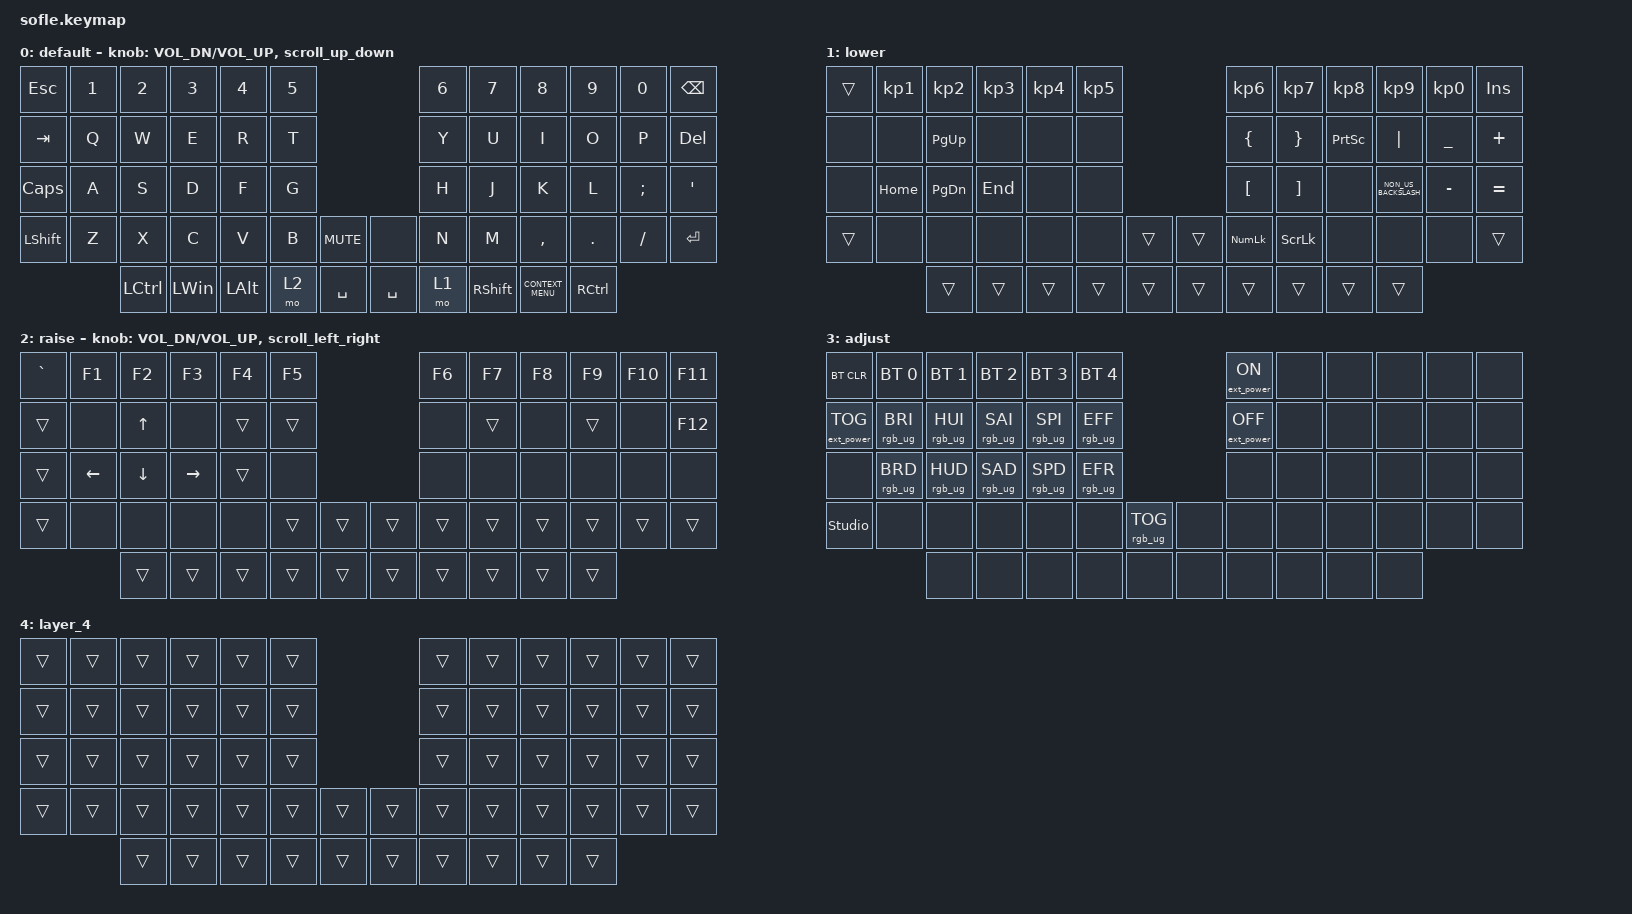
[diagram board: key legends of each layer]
/*
 * Copyright (c) 2020 The ZMK Contributors
 *
 * SPDX-License-Identifier: MIT
 */

#include <behaviors.dtsi>
#include <dt-bindings/zmk/bt.h>
#include <dt-bindings/zmk/ext_power.h>
#include <dt-bindings/zmk/keys.h>
#include <dt-bindings/zmk/rgb.h>

#define ZMK_POINTING_DEFAULT_SCRL_VAL 50    // default: 10
#include <dt-bindings/zmk/pointing.h>

#define BASE 0
#define LOWER 1
#define RAISE 2
#define ADJUST 3

/ {
    // Activate ADJUST layer by pressing raise and lower

    conditional_layers {
        compatible = "zmk,conditional-layers";

        adjust_layer {
            if-layers = <1 2>;
            then-layer = <3>;
        };
    };

    behaviors {
        scroll_up_down: behavior_sensor_rotate_mouse_wheel_up_down {
            compatible = "zmk,behavior-sensor-rotate";
            #sensor-binding-cells = <0>;
            bindings = <&msc SCRL_UP>, <&msc SCRL_DOWN>;
            tap-ms = <64>;
        };

        scroll_left_right: behavior_sensor_rotate_mouse_wheel_left_right {
            compatible = "zmk,behavior-sensor-rotate";
            #sensor-binding-cells = <0>;
            bindings = <&msc SCRL_LEFT>, <&msc SCRL_RIGHT>;
            tap-ms = <64>;
        };
    };
    
    keymap {
        compatible = "zmk,keymap";

        default_layer {
            label = "default";

            // ------------------------------------------------------------------------------------------------------------
            // |   `   |  1  |  2  |  3   |  4   |  5   |                   |  6   |  7    |  8    |  9   |   0   |       |
            // |  ESC  |  Q  |  W  |  E   |  R   |  T   |                   |  Y   |  U    |  I    |  O   |   P   | BKSPC |
            // |  TAB  |  A  |  S  |  D   |  F   |  G   |                   |  H   |  J    |  K    |  L   |   ;   |   '   |
            // | SHIFT |  Z  |  X  |  C   |  V   |  B   |  MUTE  |  |       |  N   |  M    |  ,    |  .   |   /   | SHIFT |
            //               | GUI | ALT  | CTRL | LOWER|  ENTER |  | SPACE | RAISE| CTRL  | ALT   | GUI  |

            bindings = <
&kp ESC         &kp N1  &kp N2            &kp N3        &kp N4        &kp N5                           &kp N6  &kp N7           &kp N8              &kp N9             &kp N0    &kp BACKSPACE
&kp TAB         &kp Q   &kp W             &kp E         &kp R         &kp T                            &kp Y   &kp U            &kp I               &kp O              &kp P     &kp DEL
&kp CAPS        &kp A   &kp S             &kp D         &kp F         &kp G                            &kp H   &kp J            &kp K               &kp L              &kp SEMI  &kp SQT
&kp LEFT_SHIFT  &kp Z   &kp X             &kp C         &kp V         &kp B   &kp C_MUTE    &none      &kp N   &kp M            &kp COMMA           &kp DOT            &kp FSLH  &kp ENTER
                        &kp LEFT_CONTROL  &kp LEFT_WIN  &kp LEFT_ALT  &mo 2   &kp SPACE     &kp SPACE  &mo 1   &kp RIGHT_SHIFT  &kp K_CONTEXT_MENU  &kp RIGHT_CONTROL
            >;

            sensor-bindings =
                <&inc_dec_kp C_VOL_DN C_VOL_UP>,
                <&scroll_up_down>;
        };

        lower_layer {
            label = "lower";

            // TODO: Some binds are waiting for shifted keycode support.
            // ------------------------------------------------------------------------------------------------------------
            // |       |  F1 |  F2 |  F3  |  F4  |  F5  |                   |  F6  |  F7   |  F8   |  F9  |  F10  |  F11  |
            // |   `   |  1  |  2  |  3   |  4   |  5   |                   |  6   |  7    |  8    |  9   |   0   |  F12  |
            // |       |  !  |  @  |  #   |  $   |  %   |                   |  ^   |  &    |  *    |  (   |   )   |   |   |
            // |       |  =  |  -  |  +   |  {   |  }   |        |  |       |  [   |  ]    |  ;    |  :   |   \   |       |
            //               |     |      |      |      |        |  |       |      |       |       |      |

            bindings = <
&trans  &kp KP_NUMBER_1  &kp KP_NUMBER_2  &kp KP_NUMBER_3  &kp KP_NUMBER_4  &kp KP_NUMBER_5                    &kp KP_NUMBER_6   &kp KP_NUMBER_7    &kp KP_NUMBER_8  &kp KP_NUMBER_9       &kp KP_NUMBER_0  &kp INS
&none   &none            &kp PAGE_UP      &none            &none            &none                              &kp LEFT_BRACE    &kp RIGHT_BRACE    &kp PRINTSCREEN  &kp PIPE              &kp UNDERSCORE   &kp PLUS
&none   &kp HOME         &kp PAGE_DOWN    &kp END          &none            &none                              &kp LEFT_BRACKET  &kp RIGHT_BRACKET  &none            &kp NON_US_BACKSLASH  &kp MINUS        &kp EQUAL
&trans  &none            &none            &none            &none            &none            &trans    &trans  &kp KP_NUMLOCK    &kp SCROLLLOCK     &none            &none                 &none            &trans
                         &trans           &trans           &trans           &trans           &trans    &trans  &trans            &trans             &trans           &trans
            >;
        };

        raise_layer {
            label = "raise";

            // ------------------------------------------------------------------------------------------------------------
            // | BTCLR | BT1  | BT2  |  BT3  |  BT4  |  BT5 |                |      |      |       |      |       |       |
            // |       | INS  | PSCR | GUI   |       |      |                | PGUP |      |   ^   |      |       |       |
            // |       | ALT  | CTRL | SHIFT |       | CAPS |                | PGDN |   <- |   v   |  ->  |  DEL  | BKSPC |
            // |       | UNDO | CUT  | COPY  | PASTE |      |      |  |      |      |      |       |      |       |       |
            //                |      |       |       |      |      |  |      |      |      |       |      |

            bindings = <
&kp GRAVE  &kp F1          &kp F2          &kp F3           &kp F4  &kp F5                    &kp F6  &kp F7  &kp F8  &kp F9  &kp F10  &kp F11
&trans     &none           &kp UP_ARROW    &none            &trans  &trans                    &none   &trans  &none   &trans  &none    &kp F12
&trans     &kp LEFT_ARROW  &kp DOWN_ARROW  &kp RIGHT_ARROW  &trans  &none                     &none   &none   &none   &none   &none    &none
&trans     &none           &none           &none            &none   &trans  &trans    &trans  &trans  &trans  &trans  &trans  &trans   &trans
                           &trans          &trans           &trans  &trans  &trans    &trans  &trans  &trans  &trans  &trans
            >;

            sensor-bindings =
                <&inc_dec_kp C_VOL_DN C_VOL_UP>,
                <&scroll_left_right>;
        };

        adjust_layer {
            // ----------------------------------------------------------------------------------------------------------------------------
            // | BTCLR  |  BT1    |  BT2    |   BT3   |   BT4   |   BT5   |                  |      |      |       |      |       |       |
            // | EXTPWR | RGB_HUD | RGB_HUI | RGB_SAD | RGB_SAI | RGB_EFF |                  |      |      |       |      |       |       |
            // |        | RGB_BRD | RGB_BRI |         |         |         |                  |      |      |       |      |       |       |
            // |        |         |         |         |         |         | RGB_TOG | |      |      |      |       |      |       |       |
            //                    |         |         |         |         |         | |      |      |      |       |      |

            label = "adjust";
            bindings = <
&bt BT_CLR         &bt BT_SEL 0     &bt BT_SEL 1     &bt BT_SEL 2     &bt BT_SEL 3     &bt BT_SEL 4                               &ext_power EP_ON   &none  &none  &none  &none  &none
&ext_power EP_TOG  &rgb_ug RGB_BRI  &rgb_ug RGB_HUI  &rgb_ug RGB_SAI  &rgb_ug RGB_SPI  &rgb_ug RGB_EFF                            &ext_power EP_OFF  &none  &none  &none  &none  &none
&none              &rgb_ug RGB_BRD  &rgb_ug RGB_HUD  &rgb_ug RGB_SAD  &rgb_ug RGB_SPD  &rgb_ug RGB_EFR                            &none              &none  &none  &none  &none  &none
&studio_unlock     &none            &none            &none            &none            &none            &rgb_ug RGB_TOG    &none  &none              &none  &none  &none  &none  &none
                                    &none            &none            &none            &none            &none              &none  &none              &none  &none  &none
            >;
        };

        layer_4 {
            bindings = <
&trans  &trans  &trans  &trans  &trans  &trans                    &trans  &trans  &trans  &trans  &trans  &trans
&trans  &trans  &trans  &trans  &trans  &trans                    &trans  &trans  &trans  &trans  &trans  &trans
&trans  &trans  &trans  &trans  &trans  &trans                    &trans  &trans  &trans  &trans  &trans  &trans
&trans  &trans  &trans  &trans  &trans  &trans  &trans    &trans  &trans  &trans  &trans  &trans  &trans  &trans
                &trans  &trans  &trans  &trans  &trans    &trans  &trans  &trans  &trans  &trans
            >;
        };
    };
};
